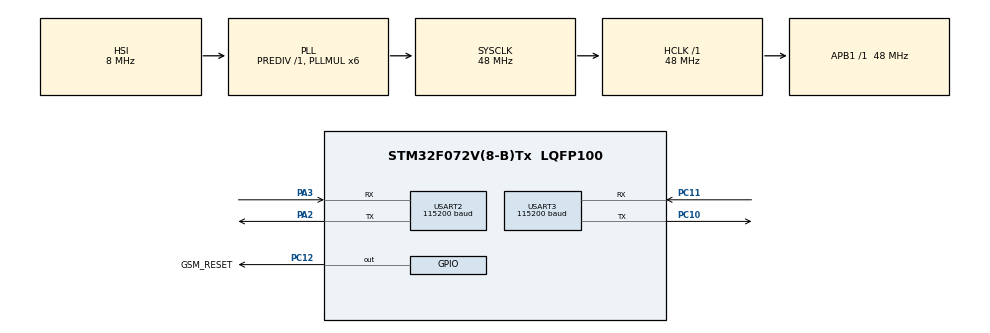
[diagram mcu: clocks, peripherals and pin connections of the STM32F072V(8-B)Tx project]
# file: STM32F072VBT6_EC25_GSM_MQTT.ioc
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Mcu.Family=STM32F0
Mcu.Name=STM32F072V(8-B)Tx
Mcu.Package=LQFP100
NVIC.USART2_IRQn=true\:0\:0\:false\:false\:true\:true\:true\:true
NVIC.USART3_4_IRQn=true\:0\:0\:false\:false\:true\:true\:true\:true
PA2.Mode=Asynchronous
PA2.Signal=USART2_TX
PA3.Mode=Asynchronous
PA3.Signal=USART2_RX
PC10.Mode=Asynchronous
PC10.Signal=USART3_TX
PC11.Mode=Asynchronous
PC11.Signal=USART3_RX
PC12.GPIO_Label=GSM_RESET
PC12.Signal=GPIO_Output
ProjectManager.HeapSize=0x200
ProjectManager.StackSize=0x400
ProjectManager.TargetToolchain=MDK-ARM V5.32
RCC.AHBFreq_Value=48000000
RCC.APB1Freq_Value=48000000
RCC.APB1TimFreq_Value=48000000
RCC.HCLKFreq_Value=48000000
RCC.PLLMUL=RCC_PLL_MUL6
RCC.SYSCLKFreq_VALUE=48000000
RCC.SYSCLKSource=RCC_SYSCLKSOURCE_PLLCLK
USART2.BaudRate=115200
USART2.VirtualMode-Asynchronous=VM_ASYNC
USART3.BaudRate=115200
USART3.VirtualMode-Asynchronous=VM_ASYNC
board=custom

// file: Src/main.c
/* USER CODE BEGIN Header */
/**
  ******************************************************************************
  * @file           : main.c
  * @brief          : Main program body
  ******************************************************************************
  * @attention
  *
  * Copyright (c) 2023 STMicroelectronics.
  * All rights reserved.
  *
  * This software is licensed under terms that can be found in the LICENSE file
  * in the root directory of this software component.
  * If no LICENSE file comes with this software, it is provided AS-IS.
  *
  ******************************************************************************
  */
/* USER CODE END Header */
#include "main.h"

/* USER CODE BEGIN Includes */
#include <stdio.h>
#include <string.h>
#include <stdlib.h>
#include <stdarg.h>
/* USER CODE END Includes */

/* USER CODE BEGIN PTD */
uint8_t Rxbuf[500];
uint8_t msg[100];
/* USER CODE END PTD */

/* USER CODE BEGIN PD */
uint8_t Data_Rx = 0;
/* USER CODE END PD */

 UART_HandleTypeDef huart2;
UART_HandleTypeDef huart3;

void SystemClock_Config(void);
static void MX_GPIO_Init(void);
static void MX_USART2_UART_Init(void);
static void MX_USART3_UART_Init(void);
/* USER CODE BEGIN PFP */
void debug_printf(char * fmt, ...);
/* USER CODE END PFP */

/* USER CODE BEGIN 0 */
void HAL_UARTEx_RxEventCallback(UART_HandleTypeDef *huart, uint16_t Size)
{

	if (huart->Instance == USART3)
	{
		Data_Rx = 1;
		HAL_UARTEx_ReceiveToIdle_IT(&huart3,Rxbuf,sizeof(Rxbuf));

		//HAL_UART_Receive_IT(&huart3,Rxbuf,sizeof(Rxbuf));
	}
}

void gsm_on()
{
	HAL_GPIO_WritePin(GSM_RESET_GPIO_Port, GSM_RESET_Pin, GPIO_PIN_SET);
	HAL_Delay(200);
	HAL_GPIO_WritePin(GSM_RESET_GPIO_Port, GSM_RESET_Pin, GPIO_PIN_RESET);
	HAL_Delay(200);

}

uint8_t Send_AT_cmd(char *str123,char *Matched_str)
{
	sprintf((char*)msg,"%s",str123);
	debug_printf("TX : %s",msg);

	Data_Rx = 0;
	HAL_UART_Transmit(&huart3,(uint8_t *)msg,strlen((char*)msg),1000);

	HAL_Delay(50);

	while(Data_Rx == 0)
	{
		HAL_Delay(1);
	}

	if(strstr((char *)Rxbuf,Matched_str) && Data_Rx == 1)
	{
		debug_printf("RX1 : %s",Rxbuf);
		memset(Rxbuf,0,sizeof(Rxbuf));
		Data_Rx = 0;
		return 0;
	}
	else if(Data_Rx == 1)
	{
		debug_printf("RX2 : %s",Rxbuf);
		return 1;
	}

}

void debug_printf(char * fmt, ...)
{
	char debug_str[500];
	memset(debug_str,NULL,sizeof(debug_str));

	va_list args;
	va_start(args,fmt);
	vsprintf(debug_str,fmt,args);
	va_end(args);

	HAL_UART_Transmit(&huart2,(uint8_t *)debug_str,strlen(debug_str),1000);
	//HAL_UART_Transmit(&huart2,(uint8_t *)"\r\n",2,10);
}
/* USER CODE END 0 */

int main(void)
{
  /* USER CODE BEGIN 1 */

	uint8_t call_cnt = 0;
	uint8_t CNTZ = 0x1a;
  /* USER CODE END 1 */

  /* MCU Configuration--------------------------------------------------------*/

  /* Reset of all peripherals, Initializes the Flash interface and the Systick. */
  HAL_Init();

  /* Configure the system clock */
  SystemClock_Config();

  /* Initialize all configured peripherals */
  MX_GPIO_Init();
  MX_USART2_UART_Init();
  MX_USART3_UART_Init();
  /* USER CODE BEGIN 2 */

	debug_printf("GSM Testing Demo...\r\n");
	gsm_on();
	debug_printf("GSM Init...\r\n");

	memset(Rxbuf,NULL,sizeof(Rxbuf));
	HAL_UARTEx_ReceiveToIdle_IT(&huart3,Rxbuf,sizeof(Rxbuf));
	//HAL_UART_Receive_IT(&huart3,Rxbuf,sizeof(Rxbuf));

	Send_AT_cmd("AT\r\n","OK");  // This command is used to check communication between the module and the MCU.
	HAL_Delay(500);

	//ATI
	Send_AT_cmd("ATI\r\n","OK");  // Command To Get Product Information of GSM / GPRS Modem
	HAL_Delay(500);

	Send_AT_cmd("AT+CPIN?\r\n","OK"); // AT commands for SIM presence and status
	HAL_Delay(2000);

	Send_AT_cmd("AT+CREG?\r\n","+CREG:"); // Network registration
	HAL_Delay(2000);

	Send_AT_cmd("AT+CREG?\r\n","+CREG:"); // Network registration
	HAL_Delay(2000);

	Send_AT_cmd("AT+CREG?\r\n","+CREG:");  // Network registration
	HAL_Delay(2000);

	Send_AT_cmd("AT+CREG?\r\n","+CREG:");  // Network registration
	HAL_Delay(2000);

	Send_AT_cmd("AT+CSQ\r\n","+CSQ:");  //Signal quality
	HAL_Delay(2000);

	Send_AT_cmd("AT+CBC\r\n","+CBC:"); //Battery charge level
	HAL_Delay(2000);

	Send_AT_cmd("AT+COPS?\r\n","+COPS:");  //sets the modem to choose a network operator automatically
	HAL_Delay(2000);

//	Send_AT_cmd("AT+QICSGP=1,\"internet\"\r\n","OK");  // Select CSD or GPRS as the Bearer
//	HAL_Delay(2000);

	Send_AT_cmd("AT+CGDCONT=1,\"IP\",\"internet\"\r\n","OK");  //AT+CGDCONT=1,"IP","gprs.oi.com.br"
	HAL_Delay(2000);

	//AT+CGACT=1,1
	Send_AT_cmd("AT+CGACT=1,1\r\n","OK");   //AT+CGDCONT=1,"IP","gprs.oi.com.br"
	HAL_Delay(2000);

//	Send_AT_cmd("AT+CGATT=?\r\n","+CGATT:");   //AT+CGDCONT=1,"IP","gprs.oi.com.br"
//	HAL_Delay(2000);

	//AT+CGATT=1
	Send_AT_cmd("AT+CGATT=1\r\n","OK");   //AT+CGDCONT=1,"IP","gprs.oi.com.br"
	HAL_Delay(2000);

	Send_AT_cmd("AT+CGPADDR=1\r\n","+CGPADDR:");
	HAL_Delay(2000);

//	Send_AT_cmd("AT+QIACT\r\n","OK");
//	HAL_Delay(5000);

//	//AT+QISTAT=?
//	Send_AT_cmd("AT+QISTAT=?\r\n","OK");
//	HAL_Delay(5000);
//
//
//	Send_AT_cmd("AT+QISTAT\r\n","+QISTAT:");
//	HAL_Delay(5000);

	memset(msg,0,sizeof(msg));
	sprintf(msg,"AT+QILOCIP\r\n");
	HAL_UART_Transmit(&huart3,(uint8_t *)msg,strlen((char*)msg),1000);
	HAL_Delay(5000);

	//MQTT Commmand

  // AT+QMTCFG="recv/mode",0,0,1

//	Send_AT_cmd("AT+QMTCFG=\"recv/mode\",0,0,1\r\n","OK");
//	HAL_Delay(2000);

//	Send_AT_cmd("AT+QMTOPEN=?\r\n","+QMTOPEN:");
//	HAL_Delay(5000);

	Send_AT_cmd("AT+QMTDISC=0\r\n","OK");  //AT+QMTDISC=0  //Disconnect a client from MQTT server
	HAL_Delay(200);

	Send_AT_cmd("AT+QMTOPEN?\r\n","+QMTOPEN:");
	HAL_Delay(2000);

	Send_AT_cmd("AT+QMTOPEN=0,\"65.2.107.224\",8051\r\n","+QMTOPEN:");
	HAL_Delay(2000);

	Send_AT_cmd("AT+QMTOPEN?\r\n","+QMTOPEN:");
	HAL_Delay(2000);

	Send_AT_cmd("AT+QMTCONN=0,\"MqqtClient\",\"ResonentLoomsMonitor\",\"uHjhUqN5zbO5VKc\"\r\n","+QMTCONN:");
	HAL_Delay(2000);

	Send_AT_cmd("AT+QMTCONN?\r\n","+QMTCONN:");
	HAL_Delay(5000);

	//AT+QMTSUB=0,0,"topic/example

	//AT+QMTSUB=?
//	Send_AT_cmd("AT+QMTSUB=?\r\n","+QMTSUB:");
//	HAL_Delay(2000);

	Send_AT_cmd("AT+QMTSUB=0,1,\"TestSub\",0\r\n","+QMTSUB:");
	HAL_Delay(500);

	Send_AT_cmd("AT+QMTPUB=0,0,0,0,\"TestPub\"\r\n",">");
	HAL_Delay(500);

	memset(msg,0,sizeof(msg));
	sprintf(msg,"Hello from STM32_GSM");
	HAL_UART_Transmit(&huart3,(uint8_t *)msg,strlen((char*)msg),1000);
	HAL_UART_Transmit(&huart3,&CNTZ,1,1000);

//AT+QMTCLOSE
//	Send_AT_cmd("AT+QMTCLOSE=0\r\n","+QMTCLOSE:");
//	HAL_Delay(500);

  /* USER CODE END 2 */

  /* Infinite loop */
  while (1)
  {
		if(strstr((char *)Rxbuf,"RING") && Data_Rx == 1)
	  {
			debug_printf("RX : %s",Rxbuf);
		  call_cnt++;
		  if(call_cnt == 3)
		  {
			  Send_AT_cmd("ATA\r\n","OK");

			  HAL_Delay(4000);

			  Send_AT_cmd("ATH\r\n","OK");
			  call_cnt = 0;
		  }
		  Data_Rx = 0;
	  }
		if(strstr((char *)Rxbuf,"SEND OK") && Data_Rx == 1)
	  {
			debug_printf("RX : %s",Rxbuf);
		  Data_Rx = 0;
	  }
		else
		{
			if(Data_Rx == 1)
			{
				debug_printf("RX : %s",Rxbuf);
				memset(Rxbuf,NULL,sizeof(Rxbuf));
				Data_Rx = 0;
			}
		}
	  HAL_Delay(10);
  }
}

void SystemClock_Config(void)
{
  RCC_OscInitTypeDef RCC_OscInitStruct = {0};
  RCC_ClkInitTypeDef RCC_ClkInitStruct = {0};
  RCC_PeriphCLKInitTypeDef PeriphClkInit = {0};

  /** Initializes the RCC Oscillators according to the specified parameters
  * in the RCC_OscInitTypeDef structure.
  */
  RCC_OscInitStruct.OscillatorType = RCC_OSCILLATORTYPE_HSI;
  RCC_OscInitStruct.HSIState = RCC_HSI_ON;
  RCC_OscInitStruct.HSICalibrationValue = RCC_HSICALIBRATION_DEFAULT;
  RCC_OscInitStruct.PLL.PLLState = RCC_PLL_ON;
  RCC_OscInitStruct.PLL.PLLSource = RCC_PLLSOURCE_HSI;
  RCC_OscInitStruct.PLL.PLLMUL = RCC_PLL_MUL6;
  RCC_OscInitStruct.PLL.PREDIV = RCC_PREDIV_DIV1;
  if (HAL_RCC_OscConfig(&RCC_OscInitStruct) != HAL_OK)
  {
    Error_Handler();
  }

  /** Initializes the CPU, AHB and APB buses clocks
  */
  RCC_ClkInitStruct.ClockType = RCC_CLOCKTYPE_HCLK|RCC_CLOCKTYPE_SYSCLK
                              |RCC_CLOCKTYPE_PCLK1;
  RCC_ClkInitStruct.SYSCLKSource = RCC_SYSCLKSOURCE_PLLCLK;
  RCC_ClkInitStruct.AHBCLKDivider = RCC_SYSCLK_DIV1;
  RCC_ClkInitStruct.APB1CLKDivider = RCC_HCLK_DIV1;

  if (HAL_RCC_ClockConfig(&RCC_ClkInitStruct, FLASH_LATENCY_1) != HAL_OK)
  {
    Error_Handler();
  }
  PeriphClkInit.PeriphClockSelection = RCC_PERIPHCLK_USART2;
  PeriphClkInit.Usart2ClockSelection = RCC_USART2CLKSOURCE_PCLK1;
  if (HAL_RCCEx_PeriphCLKConfig(&PeriphClkInit) != HAL_OK)
  {
    Error_Handler();
  }
}

static void MX_USART2_UART_Init(void)
{

  huart2.Instance = USART2;
  huart2.Init.BaudRate = 115200;
  huart2.Init.WordLength = UART_WORDLENGTH_8B;
  huart2.Init.StopBits = UART_STOPBITS_1;
  huart2.Init.Parity = UART_PARITY_NONE;
  huart2.Init.Mode = UART_MODE_TX_RX;
  huart2.Init.HwFlowCtl = UART_HWCONTROL_NONE;
  huart2.Init.OverSampling = UART_OVERSAMPLING_16;
  huart2.Init.OneBitSampling = UART_ONE_BIT_SAMPLE_DISABLE;
  huart2.AdvancedInit.AdvFeatureInit = UART_ADVFEATURE_NO_INIT;
  if (HAL_UART_Init(&huart2) != HAL_OK)
  {
    Error_Handler();
  }

}

static void MX_USART3_UART_Init(void)
{

  huart3.Instance = USART3;
  huart3.Init.BaudRate = 115200;
  huart3.Init.WordLength = UART_WORDLENGTH_8B;
  huart3.Init.StopBits = UART_STOPBITS_1;
  huart3.Init.Parity = UART_PARITY_NONE;
  huart3.Init.Mode = UART_MODE_TX_RX;
  huart3.Init.HwFlowCtl = UART_HWCONTROL_NONE;
  huart3.Init.OverSampling = UART_OVERSAMPLING_16;
  huart3.Init.OneBitSampling = UART_ONE_BIT_SAMPLE_DISABLE;
  huart3.AdvancedInit.AdvFeatureInit = UART_ADVFEATURE_NO_INIT;
  if (HAL_UART_Init(&huart3) != HAL_OK)
  {
    Error_Handler();
  }

}

static void MX_GPIO_Init(void)
{
  GPIO_InitTypeDef GPIO_InitStruct = {0};

  /* GPIO Ports Clock Enable */
  __HAL_RCC_GPIOA_CLK_ENABLE();
  __HAL_RCC_GPIOC_CLK_ENABLE();

  /*Configure GPIO pin Output Level */
  HAL_GPIO_WritePin(GPIOC, GPIO_PIN_12, GPIO_PIN_RESET);

  /*Configure GPIO pin : PC12 */
  GPIO_InitStruct.Pin = GPIO_PIN_12;
  GPIO_InitStruct.Mode = GPIO_MODE_OUTPUT_PP;
  GPIO_InitStruct.Pull = GPIO_NOPULL;
  GPIO_InitStruct.Speed = GPIO_SPEED_FREQ_LOW;
  HAL_GPIO_Init(GPIOC, &GPIO_InitStruct);

}

void Error_Handler(void)
{
  __disable_irq();
  while (1)
  {
  }
}
